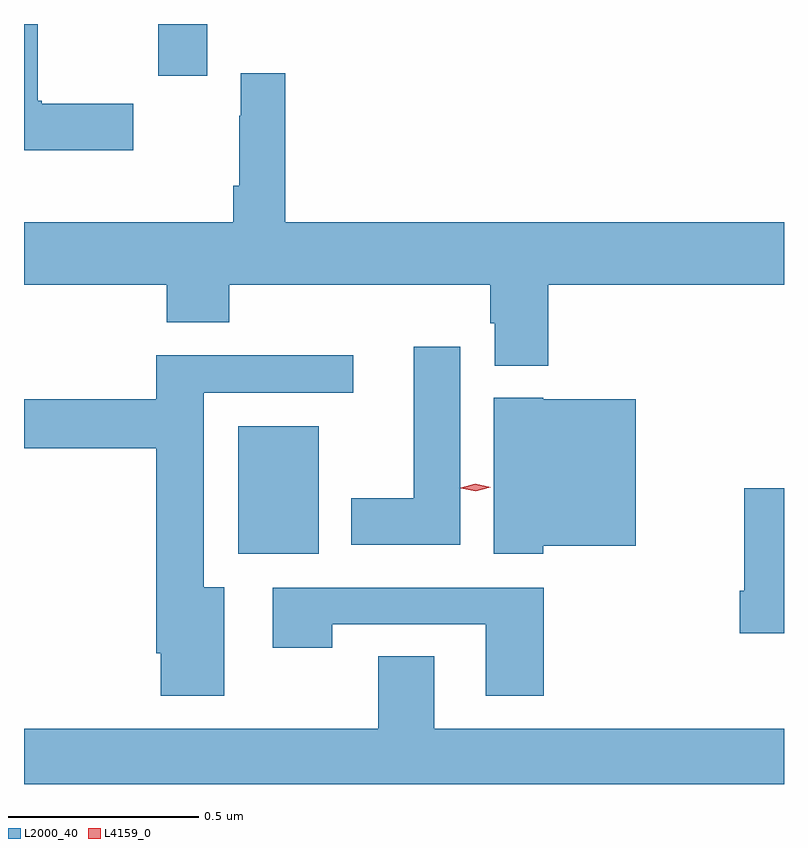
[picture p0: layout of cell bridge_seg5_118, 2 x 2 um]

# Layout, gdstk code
import gdstk
lib = gdstk.Library(unit=1e-6, precision=1e-09)
def R(c, l, rs):  # rectangles x0, y0, x1, y1
    for r in rs: c.add(gdstk.rectangle(r[:2], r[2:], *l))
def P(c, l, *ps):  # polygons
    for p in ps: c.add(gdstk.Polygon(p, *l))
L2000_40 = (2000, 40)
L4159_0 = (4159, 0)

bridge_seg5_118 = lib.new_cell('bridge_seg5_118')
R(bridge_seg5_118, L2000_40, [(376.466,844.064,376.678,844.399), (376.255,845.322,376.384,845.458)])
P(bridge_seg5_118, L2000_40, [(376.189,845.248),(375.949,845.248),(375.949,845.256),(375.938,845.256),(375.938,845.458),(375.902,845.458),(375.902,845.126),(376.189,845.126)],
  [(377.282,844.772),(377.902,844.772),(377.902,844.936),(376.589,844.936),(376.589,845.329),(376.473,845.329),(376.473,845.216),(376.468,845.216),(376.468,845.032),(376.453,845.032),(376.453,844.936),(375.902,844.936),(375.902,844.772),(376.277,844.772),(376.277,844.673),(376.442,844.673),(376.442,844.772),(377.129,844.772),(377.129,844.671),(377.141,844.671),(377.141,844.559),(377.282,844.559)],
  [(377.05,844.609),(376.928,844.609),(376.928,844.21),(376.763,844.21),(376.763,844.088),(377.05,844.088)],
  [(376.429,843.976),(376.375,843.976),(376.375,844.488),(376.768,844.488),(376.768,844.586),(376.25,844.586),(376.25,844.471),(375.902,844.471),(375.902,844.342),(376.25,844.342),(376.25,843.802),(376.262,843.802),(376.262,843.69),(376.429,843.69)],
  [(377.268,844.085),(377.512,844.085),(377.512,844.471),(377.268,844.471),(377.268,844.474),(377.138,844.474),(377.138,844.064),(377.268,844.064)],
  [(377.902,844.236),(377.798,844.236),(377.798,843.967),(377.786,843.967),(377.786,843.855),(377.902,843.855)],
  [(377.27,843.975),(376.557,843.975),(376.557,843.816),(376.713,843.816),(376.713,843.879),(377.117,843.879),(377.117,843.69),(377.27,843.69)],
  [(377.902,843.604),(376.981,843.604),(376.981,843.794),(376.834,843.794),(376.834,843.604),(375.902,843.604),(375.902,843.458),(377.902,843.458)])
P(bridge_seg5_118, L4159_0, [(377.091,844.228),(377.051,844.236),(377.051,844.237),(377.051,844.237),(377.09,844.248),(377.13,844.239),(377.13,844.239),(377.13,844.239)])

lib.write_gds('bridge_seg5_118.gds')
